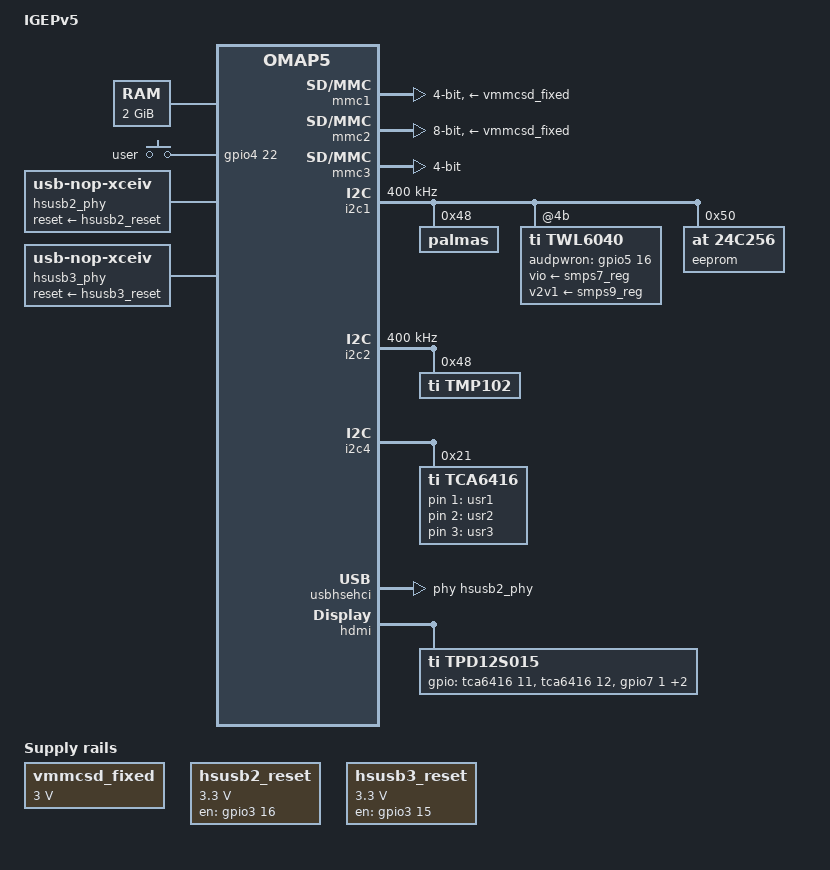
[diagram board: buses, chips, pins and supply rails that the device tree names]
/*
 * Copyright (C) 2012 Texas Instruments Incorporated - http://www.ti.com/
 *
 * This program is free software; you can redistribute it and/or modify
 * it under the terms of the GNU General Public License version 2 as
 * published by the Free Software Foundation.
 */
/dts-v1/;

/include/ "omap5.dtsi"

/ {
	model = "IGEPv5";
	compatible = "isee,omap5-igep0050", "ti,omap5";

	memory {
		device_type = "memory";
		reg = <0x80000000 0x80000000>; /* 2 GB */
	};

	vmmcsd_fixed: fixedregulator-mmcsd {
		compatible = "regulator-fixed";
		regulator-name = "vmmcsd_fixed";
		regulator-min-microvolt = <3000000>;
		regulator-max-microvolt = <3000000>;
	};

	leds {
		compatible = "gpio-leds";
		usr1 {
			label = "usr1";
			gpios = <&tca6416 1 0>;
			default-state = "off";
		};
		usr2 {
			label = "usr2";
			gpios = <&tca6416 2 0>;
			default-state = "off";
		};
		usr3 {
			label = "usr3";
			gpios = <&tca6416 3 0>;
			default-state = "off";
		};
	};

	sound {
		compatible = "ti,abe-twl6040";
		ti,model = "IGEPv5";

		ti,jack-detection = <1>;
		ti,mclk-freq = <19200000>;

		ti,mcpdm = <&mcpdm>;
		ti,mcbsp1 = <&mcbsp1>;
		ti,mcbsp2 = <&mcbsp2>;
		ti,aess = <&aess>;

		ti,twl6040 = <&twl6040>;

		/* Audio routing */
		ti,audio-routing =
			"Headset Stereophone", "HSOL",
			"Headset Stereophone", "HSOR",
			"Line Out", "AUXL",
			"Line Out", "AUXR",
			"HSMIC", "Headset Mic",
			"Headset Mic", "Headset Mic Bias",
			"AFML", "Line In",
			"AFMR", "Line In",
			"Headset Playback", "PDM_DL1",
			"PDM_UL1", "Capture",
			"40122000.mcbsp Playback", "BT_VX_DL",
			"BT_VX_UL", "40122000.mcbsp Capture",
			"40124000.mcbsp Playback", "MM_EXT_DL",
			"MM_EXT_UL", "40124000.mcbsp Capture";
	};

	sound_hdmi {
		compatible = "ti,omap-hdmi-tpd12s015-audio";
		ti,model = "OMAPHDMI";

		ti,hdmi_audio = <&hdmi>;
		ti,level_shifter = <&tpd12s015>;
	};

	gpio_keys {
		compatible = "gpio-keys";
		#address-cells = <1>;
		#size-cells = <0>;

		button@1 {
			debounce_interval = <50>;
			wakeup = <1>;
			linux,code = <276>; /* BTN_EXTRA */
			label = "user";
			gpios = <&gpio4 22 0>; /* gpio4_118 */

		};
	};

	/* HS USB Port 2 RESET */
	hsusb2_reset: hsusb2_reset_reg {
		compatible = "regulator-fixed";
		regulator-name = "hsusb2_reset";
		regulator-min-microvolt = <3300000>;
		regulator-max-microvolt = <3300000>;
		gpio = <&gpio3 16 0>;	/* gpio3_80 HUB_NRESET */
		startup-delay-us = <70000>;
		enable-active-high;
	};

	/* HS USB Host PHY on PORT 2 */
	hsusb2_phy: hsusb2_phy {
		compatible = "usb-nop-xceiv";
		reset-supply = <&hsusb2_reset>;
	};

	/* HS USB Port 3 RESET */
	hsusb3_reset: hsusb3_reset_reg {
		compatible = "regulator-fixed";
		regulator-name = "hsusb3_reset";
		regulator-min-microvolt = <3300000>;
		regulator-max-microvolt = <3300000>;
		gpio = <&gpio3 15 0>;	/* gpio3_79 ETH_NRESET */
		startup-delay-us = <70000>;
		enable-active-high;
	};

	/* HS USB Host PHY on PORT 3 */
	hsusb3_phy: hsusb3_phy {
		compatible = "usb-nop-xceiv";
		reset-supply = <&hsusb3_reset>;
	};

	/* hsusb2_phy is clocked by FREF_CLK1 i.e. auxclk1 */
	clock_alias {
		clock-name = "auxclk1_ck";
		clock-alias = "main_clk";
		device = <&hsusb2_phy>;
		clock-frequency = <19200000>; /* 19.2 MHz */
	};
};

&mmc1 {
	vmmc-supply = <&vmmcsd_fixed>;
	vmmc-aux-supply = <&ldo9_reg>;
	bus-width = <4>;
};

&mmc2 {
	vmmc-supply = <&vmmcsd_fixed>;
	vmmc-aux-supply = <&ldo9_reg>;
	bus-width = <8>;
	ti,non-removable;
};

&mmc3 {
	bus-width = <4>;
	ti,non-removable;
};

&mmc4 {
	status = "disabled";
};

&mmc5 {
	status = "disabled";
};

&i2c1 {
	clock-frequency = <400000>;

	palmas: palmas@48 {
		reg = <0x48>;
		/* SPI = 0, IRQ# = 7, 4 = active high level-sensitive */
		interrupts = <0 7 4>; /* IRQ_SYS_1N cascaded to gic */
		interrupt-parent = <&gic>;
	};

	twl6040: twl@4b {
		compatible = "ti,twl6040";

		interrupts = <0 119 4>; /* IRQ_SYS_2N cascaded to gic */
		interrupt-parent = <&gic>;
		ti,audpwron-gpio = <&gpio5 16 0>;  /* gpio line 144 */

		vio-supply = <&smps7_reg>;
		v2v1-supply = <&smps9_reg>;
		enable-active-high;
	};

	eeprom: eeprom@50 {
		compatible = "at,24c256";
		reg = <0x50>;
	};
};

&omap5_pmx_core {
	pinctrl-names = "default";
	pinctrl-0 = <
			&twl6040_pins
			&mcpdm_pins
			&dmic_pins
			&mcbsp1_pins
			&mcbsp2_pins
			&i2c2_pins
			&usbhost_pins
			&dss_hdmi_pins
			&tpd12s015_pins
			&tca6416_pins
			&palmas_pins
			&gpio_keys_pins
	>;

	twl6040_pins: pinmux_twl6040_pins {
		pinctrl-single,pins = <
			0x184 0x6	/* mcspi1_cs1.gpio5_144 OUTPUT | MODE6 */
			0x18a 0x6	/* perslimbus2_clock.gpio5_145 OUTPUT | MODE6 */
		>;
	};

	mcpdm_pins: pinmux_mcpdm_pins {
		pinctrl-single,pins = <
			0x142 0x108	/* abe_clks.abe_clks INPUT PULLDOWN | MODE0 */
			0x15c 0x108	/* abemcpdm_ul_data.abemcpdm_ul_data INPUT PULLDOWN | MODE0 */
			0x15e 0x108	/* abemcpdm_dl_data.abemcpdm_dl_data INPUT PULLDOWN | MODE0 */
			0x160 0x118	/* abemcpdm_frame.abemcpdm_frame INPUT PULLUP | MODE0 */
			0x162 0x108	/* abemcpdm_lb_clk.abemcpdm_lb_clk INPUT PULLDOWN | MODE0 */
		>;
	};

	dmic_pins: pinmux_dmic_pins {
		pinctrl-single,pins = <
			0x144 0x100	/* abedmic_din1.abedmic_din1 INPUT | MODE0 */
			0x146 0x100	/* abedmic_din2.abedmic_din2 INPUT | MODE0 */
			0x148 0x100	/* abedmic_din3.abedmic_din3 INPUT | MODE0 */
			0x14a 0		/* abedmic_clk1.abedmic_clk1 OUTPUT | MODE0 */
		>;
	};

	mcbsp1_pins: pinmux_mcbsp1_pins {
		pinctrl-single,pins = <
			0x14c 0x101	/* abedmic_clk2.abemcbsp1_fsx INPUT | MODE1 */
			0x14e 0x9	/* abedmic_clk3.abemcbsp1_dx OUTPUT PULLDOWN | MODE1 */
			0x150 0x101	/* abeslimbus1_clock.abemcbsp1_clkx INPUT | MODE0 */
			0x152 0x109	/* abeslimbus1_data.abemcbsp1_dr INPUT PULLDOWN | MODE1 */
		>;
	};

	mcbsp2_pins: pinmux_mcbsp2_pins {
		pinctrl-single,pins = <
			0x154 0x108	/* abemcbsp2_dr.abemcbsp2_dr INPUT PULLDOWN | MODE0 */
			0x156 0x8	/* abemcbsp2_dx.abemcbsp2_dx OUTPUT PULLDOWN | MODE0 */
			0x158 0x100	/* abemcbsp2_fsx.abemcbsp2_fsx INPUT | MODE0 */
			0x15a 0x100	/* abemcbsp2_clkx.abemcbsp2_clkx INPUT | MODE0 */
		>;
	};

	i2c2_pins: pinmux_i2c2_pins {
		pinctrl-single,pins = <
			0x178 0x100	/* i2c2_scl INPUT | MODE0 */
			0x17a 0x100	/* i2c2_sda INPUT | MODE0 */
		>;
	};

	tca6416_pins: pinmux_tca6414_pins {
		pinctrl-single,pins = <
			0xb8 0x100	/* i2c4_scl INPUT | MODE0 */
			0xba 0x100	/* i2c4_sda INPUT | MODE0 */
		>;
	};

	usbhost_pins: pinmux_usbhost_pins {
		pinctrl-single,pins = <
			0x84 0x100	/* usbb2_hsic_strobe INPUT | MODE 0 */
			0x86 0x100	/* usbb2_hsic_data INPUT | MODE 0 */

			0x19e 0x100	/* usbb3_hsic_strobe INPUT | MODE 0 */
			0x1a0 0x100	/* usbb3_hsic_data INPUT | MODE 0 */

			0x70 0x6	/* gpio3_80 OUTPUT | MODE 6 HUB_NRESET */
			0x6e 0x6	/* gpio3_79 OUTPUT | MODE 6 ETH_NRESET */
		>;
	};

	dss_hdmi_pins: pinmux_dss_hdmi_pins {
		pinctrl-single,pins = <
			0x0fc 0x118	/* hdmi_cec.hdmi_cec INPUT PULLUP | MODE 0 */
			0x100 0x106	/* hdmi_scl.hdmi_scl INPUT | MODE 6 */
			0x102 0x106	/* hdmi_sda.hdmi_sda INPUT | MODE 6 */
		>;
	};

	tpd12s015_pins: pinmux_tpd12s015_pins {
		pinctrl-single,pins = <
			0x0fe 0x116	/* hdmi_hpd.gpio7_193 INPUT PULLDOWN | MODE6 */
		>;
	};

	palmas_pins: pinmux_palmas_pins {
		pinctrl-single,pins = <
			0x140 0x11f	/* MSLEEP INPUT | PULLUP | MODE7 */
		>;
	};

	gpio_keys_pins: pinmux_gpio_keys_pins {
		pinctrl-single,pins = <
			0x46 0x106	/* c2c_data13.gpio4_118 INPUT | MODE6 */
		>;
	};
};

&omap5_pmx_wkup {
	pinctrl-names = "default";
	pinctrl-0 = <
			&usbhost_wkup_pins
	>;

	usbhost_wkup_pins: pinmux_usbhost_wkup_pins {
		pinctrl-single,pins = <
			0x1A 0x0	/* fref_clk1_out OUTPUT | MODE 7 for USB hub clk */
		>;
	};
};

&i2c2 {
	clock-frequency = <400000>;

	/* Temperature Sensor */
	tmp102: tmp102@24 {
		compatible = "ti,tmp102";
		reg = <0x48>;
	};

};

&i2c4 {
	tca6416: tca6416@21 {
		compatible = "ti,tca6416";
		reg = <0x21>;
		gpio-controller;
		#gpio-cells = <2>;
	};
};

&usbhshost {
	port2-mode = "ehci-hsic";
	port3-mode = "ehci-hsic";
};

&usbhsehci {
	phys = <0 &hsusb2_phy &hsusb3_phy>;
};

&hdmi {
	tpd12s015: tpd12s015 {
		compatible = "ti,tpd12s015";

		gpios = <&tca6416 11 0>,	/* TCA6416 P01, CT_CP_HDP */
			<&tca6416 12 0>,	/* TCA6416 P00, LS_OE*/
			<&gpio7 1 0>,		/* 193, HPD */
			<&gpio7 2 0>,		/* 194, SCL */
			<&gpio7 3 0>;		/* 195, SDA */

		hdmi-monitor {
			compatible = "ti,hdmi_panel";
		};

	};
};

/include/ "palmas.dtsi"
/include/ "twl6040.dtsi"
